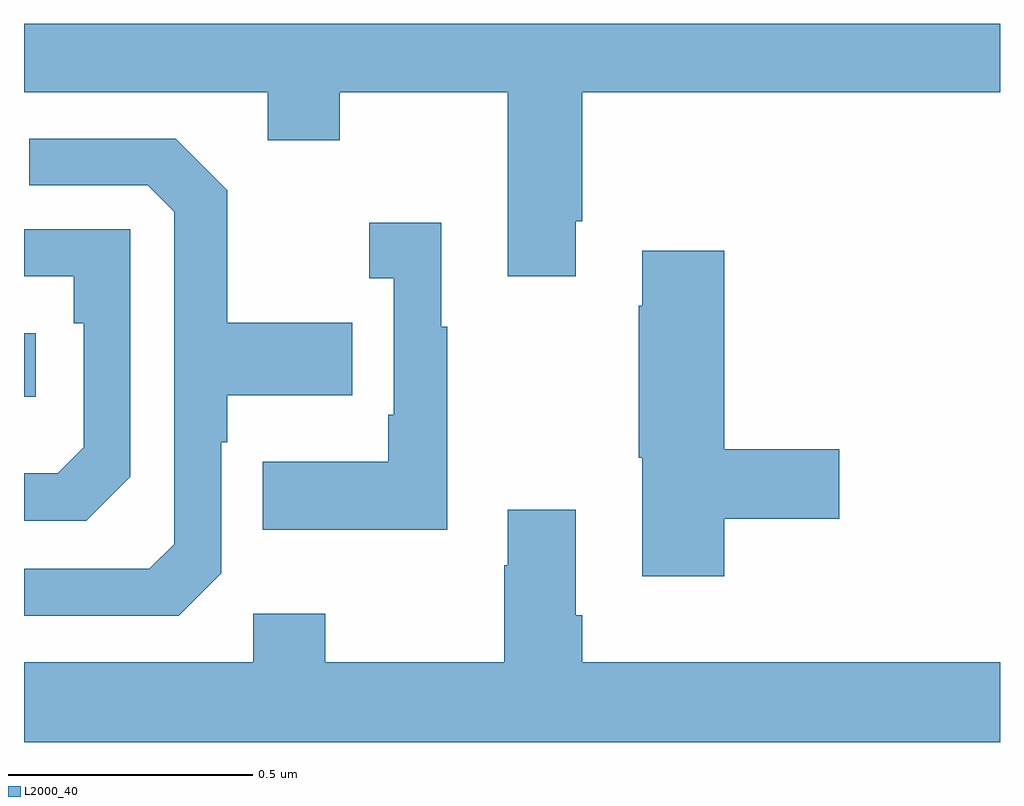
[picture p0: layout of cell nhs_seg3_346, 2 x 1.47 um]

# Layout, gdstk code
import gdstk
lib = gdstk.Library(unit=1e-6, precision=1e-09)
def R(c, l, rs):  # rectangles x0, y0, x1, y1
    for r in rs: c.add(gdstk.rectangle(r[:2], r[2:], *l))
def P(c, l, *ps):  # polygons
    for p in ps: c.add(gdstk.Polygon(p, *l))
L2000_40 = (2000, 40)

nhs_seg3_346 = lib.new_cell('nhs_seg3_346')
R(nhs_seg3_346, L2000_40, [(115,689.636,115.024,689.766)])
P(nhs_seg3_346, L2000_40, [(116.131,689.995),(116.144,689.995),(116.144,690.26),(117,690.26),(117,690.4),(115,690.4),(115,690.26),(115.499,690.26),(115.499,690.161),(115.647,690.161),(115.647,690.26),(115.991,690.26),(115.991,689.883),(116.131,689.883)],
  [(115.404,689.274),(115.404,689.543),(115.417,689.543),(115.417,689.639),(115.673,689.639),(115.673,689.787),(115.417,689.787),(115.417,690.059),(115.311,690.165),(115.011,690.165),(115.011,690.069),(115.254,690.069),(115.308,690.015),(115.308,689.334),(115.257,689.283),(115,689.283),(115,689.187),(115.317,689.187)],
  [(115.867,689.779),(115.855,689.779),(115.855,689.992),(115.707,689.992),(115.707,689.879),(115.758,689.879),(115.758,689.599),(115.746,689.599),(115.746,689.503),(115.489,689.503),(115.489,689.363),(115.867,689.363)],
  [(115.218,689.472),(115.218,689.979),(115,689.979),(115,689.883),(115.102,689.883),(115.102,689.786),(115.122,689.786),(115.122,689.532),(115.069,689.479),(115,689.479),(115,689.382),(115.128,689.382)],
  [(116.435,689.386),(116.671,689.386),(116.671,689.528),(116.435,689.528),(116.435,689.935),(116.267,689.935),(116.267,689.822),(116.26,689.822),(116.26,689.511),(116.267,689.511),(116.267,689.268),(116.435,689.268)],
  [(117,689.092),(116.144,689.092),(116.144,689.188),(116.131,689.188),(116.131,689.404),(115.991,689.404),(115.991,689.291),(115.984,689.291),(115.984,689.092),(115.617,689.092),(115.617,689.191),(115.47,689.191),(115.47,689.092),(115,689.092),(115,688.928),(117,688.928)])

lib.write_gds('nhs_seg3_346.gds')
